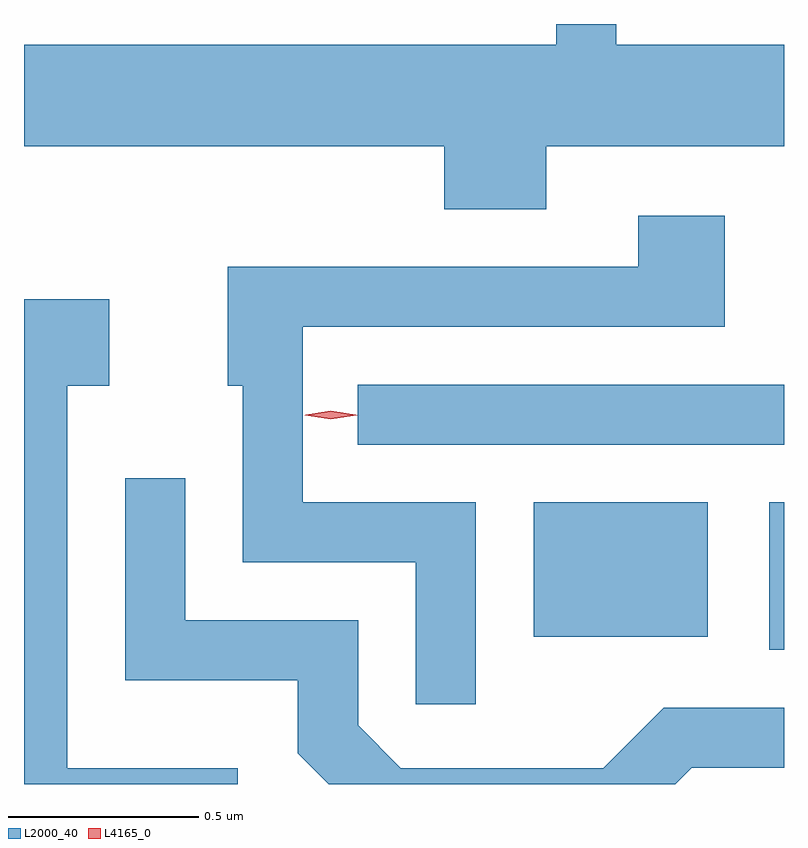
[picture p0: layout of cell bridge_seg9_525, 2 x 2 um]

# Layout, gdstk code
import gdstk
lib = gdstk.Library(unit=1e-6, precision=1e-09)
def R(c, l, rs):  # rectangles x0, y0, x1, y1
    for r in rs: c.add(gdstk.rectangle(r[:2], r[2:], *l))
def P(c, l, *ps):  # polygons
    for p in ps: c.add(gdstk.Polygon(p, *l))
L2000_40 = (2000, 40)
L4165_0 = (4165, 0)

bridge_seg9_525 = lib.new_cell('bridge_seg9_525')
R(bridge_seg9_525, L2000_40, [(591.836,1946.091,591.875,1946.479), (591.216,1946.126,591.674,1946.479), (590.753,1946.631,591.875,1946.789)])
P(bridge_seg9_525, L2000_40, [(591.249,1947.416),(591.875,1947.416),(591.875,1947.684),(591.434,1947.684),(591.434,1947.738),(591.276,1947.738),(591.276,1947.684),(589.875,1947.684),(589.875,1947.416),(590.981,1947.416),(590.981,1947.251),(591.249,1947.251)],
  [(591.064,1946.479),(590.609,1946.479),(590.609,1946.941),(591.719,1946.941),(591.719,1947.234),(591.491,1947.234),(591.491,1947.099),(590.411,1947.099),(590.411,1946.786),(590.451,1946.786),(590.451,1946.321),(590.906,1946.321),(590.906,1945.948),(591.064,1945.948)],
  [(590.438,1945.779),(589.989,1945.779),(589.989,1946.786),(590.099,1946.786),(590.099,1947.014),(589.875,1947.014),(589.875,1945.738),(590.438,1945.738)],
  [(591.632,1945.781),(591.875,1945.781),(591.875,1945.939),(591.559,1945.939),(591.399,1945.779),(590.867,1945.779),(590.754,1945.892),(590.754,1946.169),(590.299,1946.169),(590.299,1946.543),(590.141,1946.543),(590.141,1946.011),(590.596,1946.011),(590.596,1945.819),(590.677,1945.738),(591.589,1945.738)])
P(bridge_seg9_525, L4165_0, [(590.682,1946.698),(590.614,1946.708),(590.613,1946.708),(590.614,1946.709),(590.682,1946.718),(590.751,1946.709),(590.752,1946.708),(590.751,1946.708)],
  [(590.682,1946.699),(590.616,1946.709),(590.615,1946.709),(590.616,1946.71),(590.682,1946.72),(590.748,1946.71),(590.748,1946.709),(590.748,1946.709)])

lib.write_gds('bridge_seg9_525.gds')
